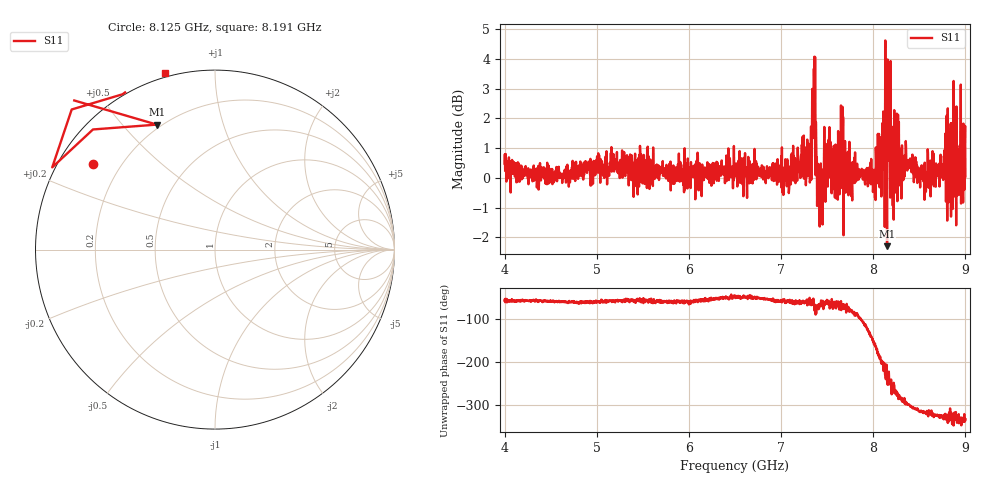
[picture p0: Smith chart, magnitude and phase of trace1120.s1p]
! Created with skrf 1.8.0 (http://scikit-rf.org).
# Hz S RI R 50.0
!freq ReS11 ImS11
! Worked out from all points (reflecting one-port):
!   1601 points, 4 GHz to 9 GHz, reference 50 ohm
!   lowest |S11| = -2.3 dB at 8.15 GHz (marker M1), VSWR 7.62, Z = 9.16 + j31.1 ohm
!   phase of S11 starts at -57 deg and turns -277 deg over the sweep
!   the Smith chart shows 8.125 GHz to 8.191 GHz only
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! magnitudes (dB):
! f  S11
! 4 GHz  0.5
! 4.625 GHz  -0.2
! 5.25 GHz  0.0
! 5.875 GHz  0.2
! 6.5 GHz  0.3
! 7.125 GHz  0.3
! 7.294 GHz  0.3
! 7.356 GHz  3.7
! 7.381 GHz  1.1
! 7.4 GHz  0.5
! 7.428 GHz  -1.1
! 7.512 GHz  1.3
! 7.591 GHz  1.1
! 7.662 GHz  0.0
! 7.703 GHz  0.7
! 7.75 GHz  0.3
! 8 GHz  -0.3
! 8.15 GHz  -2.3
! 8.178 GHz  3.2
! 8.216 GHz  0.5
! 8.253 GHz  0.9
! 8.312 GHz  1.1
! 8.375 GHz  0.6
! 8.556 GHz  -0.7
! 8.853 GHz  0.9
! 8.919 GHz  0.0
! 8.972 GHz  1.0
! 9 GHz  0.0
